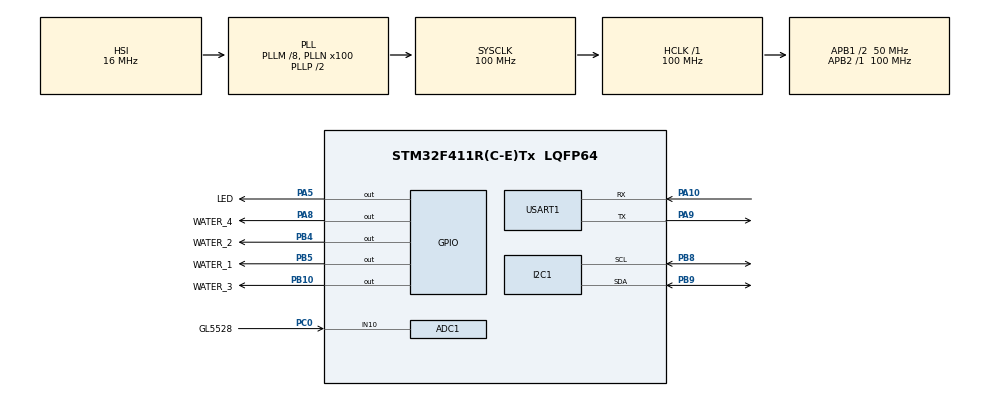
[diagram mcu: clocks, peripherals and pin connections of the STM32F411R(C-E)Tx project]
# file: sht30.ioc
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ADC1.Channel-3\#ChannelRegularConversion=ADC_CHANNEL_10
ADC1.NbrOfConversionFlag=1
ADC1.Rank-3\#ChannelRegularConversion=1
ADC1.SamplingTime-3\#ChannelRegularConversion=ADC_SAMPLETIME_3CYCLES
ADC1.master=1
Mcu.Family=STM32F4
Mcu.Name=STM32F411R(C-E)Tx
Mcu.Package=LQFP64
NVIC.PriorityGroup=NVIC_PRIORITYGROUP_4
NVIC.USART1_IRQn=true\:0\:0\:false\:false\:true\:true\:true\:true
PA10.Mode=Asynchronous
PA10.Signal=USART1_RX
PA5.GPIO_Label=LED
PA5.Signal=GPIO_Output
PA8.GPIO_Label=WATER_4
PA8.Signal=GPIO_Output
PA9.Mode=Asynchronous
PA9.Signal=USART1_TX
PB10.GPIO_Label=WATER_3
PB10.Signal=GPIO_Output
PB4.GPIO_Label=WATER_2
PB4.Signal=GPIO_Output
PB5.GPIO_Label=WATER_1
PB5.Signal=GPIO_Output
PB8.Mode=I2C
PB8.Signal=I2C1_SCL
PB9.Mode=I2C
PB9.Signal=I2C1_SDA
PC0.GPIO_Label=GL5528
PC0.Signal=ADCx_IN10
ProjectManager.HeapSize=0x200
ProjectManager.StackSize=0x400
ProjectManager.TargetToolchain=STM32CubeIDE
RCC.48MHZClocksFreq_Value=50000000
RCC.AHBFreq_Value=100000000
RCC.APB1CLKDivider=RCC_HCLK_DIV2
RCC.APB1Freq_Value=50000000
RCC.APB1TimFreq_Value=100000000
RCC.APB2Freq_Value=100000000
RCC.APB2TimFreq_Value=100000000
RCC.CortexFreq_Value=100000000
RCC.HCLKFreq_Value=100000000
RCC.HSE_VALUE=25000000
RCC.HSI_VALUE=16000000
RCC.LSE_VALUE=32768
RCC.PLLM=8
RCC.PLLN=100
RCC.SYSCLKFreq_VALUE=100000000
RCC.SYSCLKSource=RCC_SYSCLKSOURCE_PLLCLK
RCC.VCOOutputFreq_Value=200000000
SH.ADCx_IN10.0=ADC1_IN10,IN10
USART1.VirtualMode=VM_ASYNC
board=custom

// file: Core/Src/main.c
/* USER CODE BEGIN Header */
/**
  ******************************************************************************
  * @file           : main.c
  * @brief          : Main program body
  ******************************************************************************
  * @attention
  *
  * Copyright (c) 2026 STMicroelectronics.
  * All rights reserved.
  *
  * This software is licensed under terms that can be found in the LICENSE file
  * in the root directory of this software component.
  * If no LICENSE file comes with this software, it is provided AS-IS.
  *
  ******************************************************************************
  */
/* USER CODE END Header */
#include "main.h"

/* USER CODE BEGIN Includes */
#include <stdio.h>
#include <string.h>

/* USER CODE END Includes */

/* USER CODE BEGIN PTD */
typedef struct
{
    int16_t temp;
    uint16_t humi;
    uint16_t light;
} frame_uart_t;

typedef struct
{
	GPIO_TypeDef *const port;
	uint16_t pin;
} water_led_t;

/* USER CODE END PTD */

/* USER CODE BEGIN PD */
#define SENSOR_INTERVAL_MS 1000

/* USER CODE END PD */

ADC_HandleTypeDef hadc1;

I2C_HandleTypeDef hi2c1;

UART_HandleTypeDef huart1;

/* USER CODE BEGIN PV */
#define CMD_WATER  0x20

static volatile uint8_t rx_byte;
static volatile uint8_t g_cmd_water_sec = 0;   /* 0이면 명령 없음 */

static const water_led_t g_led_list[] =
{
    { .port = WATER_1_GPIO_Port, .pin = WATER_1_Pin },
    { .port = WATER_2_GPIO_Port, .pin = WATER_2_Pin },
    { .port = WATER_3_GPIO_Port, .pin = WATER_3_Pin },
    { .port = WATER_4_GPIO_Port, .pin = WATER_4_Pin },
};

#define LED_COUNT  (int)(sizeof(g_led_list) / sizeof(g_led_list[0]))
/* USER CODE END PV */

void SystemClock_Config(void);
static void MX_GPIO_Init(void);
static void MX_I2C1_Init(void);
static void MX_USART1_UART_Init(void);
static void MX_ADC1_Init(void);
/* USER CODE BEGIN PFP */
static uint16_t Read_LDR(void);
static uint16_t Read_LDR_Filtered(void);
//static float LDR_Resistance(uint16_t);
static void Task_Sensor(uint32_t);
/* USER CODE END PFP */

/* USER CODE BEGIN 0 */

static uint16_t Read_LDR(void)
{
	HAL_ADC_Start(&hadc1);
	HAL_ADC_PollForConversion(&hadc1, HAL_MAX_DELAY);
	uint16_t raw = HAL_ADC_GetValue(&hadc1);
	HAL_ADC_Stop(&hadc1);
	return raw;
}

static uint16_t Read_LDR_Filtered(void)
{
	const int SAMPLE_COUNT = 8;
	uint32_t sum = 0;
	for(int i = 0; i < SAMPLE_COUNT; i++)
	{
		sum += Read_LDR();
		HAL_Delay(2);
	}
	return (uint16_t)(sum/ SAMPLE_COUNT);
}

//static float LDR_Resistance(uint16_t raw)
//{
//	if(raw == 0)
//		return 1e9f;
//
//	return 10000.0f * (4095.0f - raw) / raw;
//}

static void Task_Sensor(uint32_t now)
{
	static uint32_t last_ms = 0;
	static uint8_t cmd[2] = {0x2C, 0x06};

	if(now - last_ms < SENSOR_INTERVAL_MS)
		return;
	last_ms = now;

	uint8_t frame[100];
	uint8_t data[6];
	frame_uart_t frame_uart;

	// 1. 측정명령 전송
	HAL_I2C_Master_Transmit(&hi2c1, 0x44 << 1, cmd, 2, 100);
	HAL_Delay(20);

	// 2. 데이터 6바이트 받기
	HAL_I2C_Master_Receive(&hi2c1, 0x44 << 1, data, 6, 100);

	// 3. raw값 조합
	// 데이터시트 10페이지 table9참조
	// 8비트 8비트 나눠서 옴 >> 8비트 밀고 두 개 합쳐서 16비트로 조합
	uint16_t raw_temp = (data[0] << 8) | data[1];
	uint16_t raw_humi = (data[3] << 8) | data[4];

	// 4. 실제 값 연산
	float temp = -45 + 175 * ((float)raw_temp / 65535.0);
	float humi = 100 * ((float)raw_humi / 65535.0);

	// 4-1 . 조도센서 측정
	uint16_t light = Read_LDR_Filtered();

	// 5. 전송용 프레임 만들기 [!!!중요!!!] 100만큼 스케일링 함
	frame_uart.temp = (uint16_t)(temp * 100.0f);
	frame_uart.humi = (uint16_t)(humi * 100.0f);
	frame_uart.light = light;
	size_t frame_len = sizeof(frame_uart);

	frame[0] = 0x02;
	frame[1] = frame_len;
	frame[2] = 0x10;
	memcpy(&frame[3], &frame_uart, frame_len);
	frame[3 + frame_len] = 0x00;
	frame[4 + frame_len] = 0x03;

	// # 라즈베리파이 직결 포트
	if(HAL_UART_Transmit(&huart1, frame, frame_len + 5, 100) != HAL_OK)
	{
		// TODO err count
	}

	// 하트비트 둘지 없앨지?
	HAL_GPIO_TogglePin(LED_GPIO_Port, LED_Pin);
}

static void Task_WaterPump(uint32_t now, int order)
{
	const uint32_t LED_MS = 150;

	static int working_step = 0;
	static uint32_t end_tm = 0;
	static uint32_t last_ms = 0;
	uint32_t left_ms = now - last_ms;

	// # 명령 최초하달 init
	if(order > 0)
	{
		for(int i = 0; i < LED_COUNT; i++)
			HAL_GPIO_WritePin(g_led_list[i].port, g_led_list[i].pin, GPIO_PIN_RESET);
		working_step = 0;
		HAL_GPIO_WritePin(g_led_list[working_step].port, g_led_list[working_step].pin, GPIO_PIN_SET);
		last_ms = now;
		end_tm = now + (uint32_t)order * 1000;
	}

	// # 지속시간 이외
	if(end_tm < now)
	{
		if (working_step >=0)
		{
			for(int i = 0; i < LED_COUNT; i++)
				HAL_GPIO_WritePin(g_led_list[i].port, g_led_list[i].pin, GPIO_PIN_RESET);
			working_step = -1;
		}
		return;
	}

	if(left_ms < LED_MS)
		return;

	last_ms = now;
	HAL_GPIO_WritePin(g_led_list[working_step].port, g_led_list[working_step].pin, GPIO_PIN_RESET);
	working_step = (working_step + 1) % LED_COUNT;
	HAL_GPIO_WritePin(g_led_list[working_step].port, g_led_list[working_step].pin, GPIO_PIN_SET);
}

/* 프레임구조: 02 | len | type | payload | 00 | 03 */
static void cmd_feed(uint8_t b)
{
	static uint8_t st = 0;
	static uint8_t len, type, payload;

	switch (st)
	{
	case 0: st = (b == 0x02) ? 1 : 0; break;	/* STX */
	case 1: len  = b; st = (len == 1) ? 2 : 0;	break;	/* 길이 */
	case 2: type = b; st = 3;	break;	/* 타입 */
	case 3: payload = b; st = 4;	break;	/* 값 */
	case 4: st = (b == 0x00) ? 5 : 0;	break;	/* 예약 */
	case 5:	/* ETX */
		if (b == 0x03 && type == CMD_WATER && payload > 0 && payload <= 30)
			g_cmd_water_sec = payload;
		st = 0;
		break;
	default:
		st = 0;
		break;
	}
}
// 오버라이드
void HAL_UART_RxCpltCallback(UART_HandleTypeDef *huart)
{
	if (huart->Instance == USART1)
	{
		cmd_feed(rx_byte);
		HAL_UART_Receive_IT(&huart1, (uint8_t *)&rx_byte, 1);   /* 재장전 */
	}
}
// 오버라이드
void HAL_UART_ErrorCallback(UART_HandleTypeDef *huart)
{
	if (huart->Instance == USART1)
		HAL_UART_Receive_IT(&huart1, (uint8_t *)&rx_byte, 1);   /* 복구 */
}

/* USER CODE END 0 */

int main(void)
{

  /* MCU Configuration--------------------------------------------------------*/

  /* Reset of all peripherals, Initializes the Flash interface and the Systick. */
  HAL_Init();

  /* Configure the system clock */
  SystemClock_Config();

  /* Initialize all configured peripherals */
  MX_GPIO_Init();
  MX_I2C1_Init();
  MX_USART1_UART_Init();
  MX_ADC1_Init();
  /* USER CODE BEGIN 2 */
  HAL_UART_Receive_IT(&huart1, (uint8_t *)&rx_byte, 1);

  /* USER CODE END 2 */

  /* Infinite loop */
  while (1)
  {

    /* USER CODE BEGIN 3 */
	uint32_t now = HAL_GetTick();

	__disable_irq();
	int order = g_cmd_water_sec;
	g_cmd_water_sec = 0;
	__enable_irq();

	Task_Sensor(now);
	Task_WaterPump(now, order);

  }
  /* USER CODE END 3 */
}

void SystemClock_Config(void)
{
  RCC_OscInitTypeDef RCC_OscInitStruct = {0};
  RCC_ClkInitTypeDef RCC_ClkInitStruct = {0};

  /** Configure the main internal regulator output voltage
  */
  __HAL_RCC_PWR_CLK_ENABLE();
  __HAL_PWR_VOLTAGESCALING_CONFIG(PWR_REGULATOR_VOLTAGE_SCALE1);

  /** Initializes the RCC Oscillators according to the specified parameters
  * in the RCC_OscInitTypeDef structure.
  */
  RCC_OscInitStruct.OscillatorType = RCC_OSCILLATORTYPE_HSI;
  RCC_OscInitStruct.HSIState = RCC_HSI_ON;
  RCC_OscInitStruct.HSICalibrationValue = RCC_HSICALIBRATION_DEFAULT;
  RCC_OscInitStruct.PLL.PLLState = RCC_PLL_ON;
  RCC_OscInitStruct.PLL.PLLSource = RCC_PLLSOURCE_HSI;
  RCC_OscInitStruct.PLL.PLLM = 8;
  RCC_OscInitStruct.PLL.PLLN = 100;
  RCC_OscInitStruct.PLL.PLLP = RCC_PLLP_DIV2;
  RCC_OscInitStruct.PLL.PLLQ = 4;
  if (HAL_RCC_OscConfig(&RCC_OscInitStruct) != HAL_OK)
  {
    Error_Handler();
  }

  /** Initializes the CPU, AHB and APB buses clocks
  */
  RCC_ClkInitStruct.ClockType = RCC_CLOCKTYPE_HCLK|RCC_CLOCKTYPE_SYSCLK
                              |RCC_CLOCKTYPE_PCLK1|RCC_CLOCKTYPE_PCLK2;
  RCC_ClkInitStruct.SYSCLKSource = RCC_SYSCLKSOURCE_PLLCLK;
  RCC_ClkInitStruct.AHBCLKDivider = RCC_SYSCLK_DIV1;
  RCC_ClkInitStruct.APB1CLKDivider = RCC_HCLK_DIV2;
  RCC_ClkInitStruct.APB2CLKDivider = RCC_HCLK_DIV1;

  if (HAL_RCC_ClockConfig(&RCC_ClkInitStruct, FLASH_LATENCY_3) != HAL_OK)
  {
    Error_Handler();
  }
}

static void MX_ADC1_Init(void)
{

  ADC_ChannelConfTypeDef sConfig = {0};

  /** Configure the global features of the ADC (Clock, Resolution, Data Alignment and number of conversion)
  */
  hadc1.Instance = ADC1;
  hadc1.Init.ClockPrescaler = ADC_CLOCK_SYNC_PCLK_DIV4;
  hadc1.Init.Resolution = ADC_RESOLUTION_12B;
  hadc1.Init.ScanConvMode = DISABLE;
  hadc1.Init.ContinuousConvMode = DISABLE;
  hadc1.Init.DiscontinuousConvMode = DISABLE;
  hadc1.Init.ExternalTrigConvEdge = ADC_EXTERNALTRIGCONVEDGE_NONE;
  hadc1.Init.ExternalTrigConv = ADC_SOFTWARE_START;
  hadc1.Init.DataAlign = ADC_DATAALIGN_RIGHT;
  hadc1.Init.NbrOfConversion = 1;
  hadc1.Init.DMAContinuousRequests = DISABLE;
  hadc1.Init.EOCSelection = ADC_EOC_SINGLE_CONV;
  if (HAL_ADC_Init(&hadc1) != HAL_OK)
  {
    Error_Handler();
  }

  /** Configure for the selected ADC regular channel its corresponding rank in the sequencer and its sample time.
  */
  sConfig.Channel = ADC_CHANNEL_10;
  sConfig.Rank = 1;
  sConfig.SamplingTime = ADC_SAMPLETIME_3CYCLES;
  if (HAL_ADC_ConfigChannel(&hadc1, &sConfig) != HAL_OK)
  {
    Error_Handler();
  }

}

static void MX_I2C1_Init(void)
{

  hi2c1.Instance = I2C1;
  hi2c1.Init.ClockSpeed = 100000;
  hi2c1.Init.DutyCycle = I2C_DUTYCYCLE_2;
  hi2c1.Init.OwnAddress1 = 0;
  hi2c1.Init.AddressingMode = I2C_ADDRESSINGMODE_7BIT;
  hi2c1.Init.DualAddressMode = I2C_DUALADDRESS_DISABLE;
  hi2c1.Init.OwnAddress2 = 0;
  hi2c1.Init.GeneralCallMode = I2C_GENERALCALL_DISABLE;
  hi2c1.Init.NoStretchMode = I2C_NOSTRETCH_DISABLE;
  if (HAL_I2C_Init(&hi2c1) != HAL_OK)
  {
    Error_Handler();
  }

}

static void MX_USART1_UART_Init(void)
{

  huart1.Instance = USART1;
  huart1.Init.BaudRate = 115200;
  huart1.Init.WordLength = UART_WORDLENGTH_8B;
  huart1.Init.StopBits = UART_STOPBITS_1;
  huart1.Init.Parity = UART_PARITY_NONE;
  huart1.Init.Mode = UART_MODE_TX_RX;
  huart1.Init.HwFlowCtl = UART_HWCONTROL_NONE;
  huart1.Init.OverSampling = UART_OVERSAMPLING_16;
  if (HAL_UART_Init(&huart1) != HAL_OK)
  {
    Error_Handler();
  }

}

static void MX_GPIO_Init(void)
{
  GPIO_InitTypeDef GPIO_InitStruct = {0};

  /* GPIO Ports Clock Enable */
  __HAL_RCC_GPIOC_CLK_ENABLE();
  __HAL_RCC_GPIOA_CLK_ENABLE();
  __HAL_RCC_GPIOB_CLK_ENABLE();

  /*Configure GPIO pin Output Level */
  HAL_GPIO_WritePin(GPIOA, LED_Pin|WATER_4_Pin, GPIO_PIN_RESET);

  /*Configure GPIO pin Output Level */
  HAL_GPIO_WritePin(GPIOB, WATER_3_Pin|WATER_2_Pin|WATER_1_Pin, GPIO_PIN_RESET);

  /*Configure GPIO pins : LED_Pin WATER_4_Pin */
  GPIO_InitStruct.Pin = LED_Pin|WATER_4_Pin;
  GPIO_InitStruct.Mode = GPIO_MODE_OUTPUT_PP;
  GPIO_InitStruct.Pull = GPIO_NOPULL;
  GPIO_InitStruct.Speed = GPIO_SPEED_FREQ_LOW;
  HAL_GPIO_Init(GPIOA, &GPIO_InitStruct);

  /*Configure GPIO pins : WATER_3_Pin WATER_2_Pin WATER_1_Pin */
  GPIO_InitStruct.Pin = WATER_3_Pin|WATER_2_Pin|WATER_1_Pin;
  GPIO_InitStruct.Mode = GPIO_MODE_OUTPUT_PP;
  GPIO_InitStruct.Pull = GPIO_NOPULL;
  GPIO_InitStruct.Speed = GPIO_SPEED_FREQ_LOW;
  HAL_GPIO_Init(GPIOB, &GPIO_InitStruct);

}

void Error_Handler(void)
{
  __disable_irq();
  while (1)
  {
  }
}
